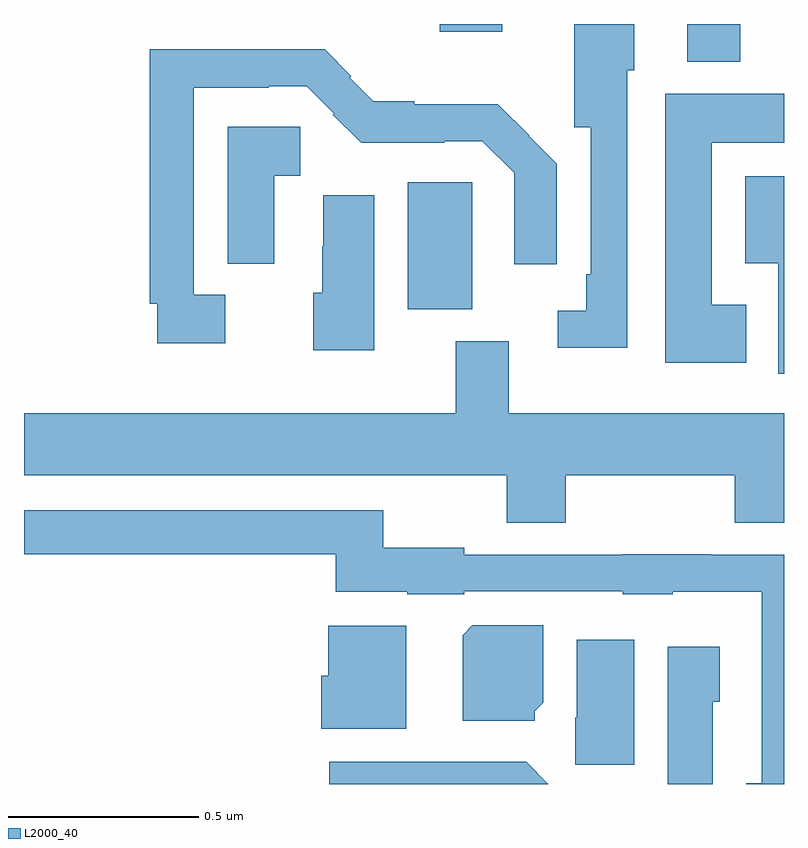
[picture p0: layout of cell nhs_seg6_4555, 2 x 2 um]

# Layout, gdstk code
import gdstk
lib = gdstk.Library(unit=1e-6, precision=1e-09)
def R(c, l, rs):  # rectangles x0, y0, x1, y1
    for r in rs: c.add(gdstk.rectangle(r[:2], r[2:], *l))
def P(c, l, *ps):  # polygons
    for p in ps: c.add(gdstk.Polygon(p, *l))
L2000_40 = (2000, 40)

nhs_seg6_4555 = lib.new_cell('nhs_seg6_4555')
R(nhs_seg6_4555, L2000_40, [(172.01,971.75,172.18,972.084), (172.745,972.401,172.885,972.5), (172.094,972.48,172.258,972.5)])
P(nhs_seg6_4555, L2000_40, [(172.587,972.378),(172.606,972.378),(172.606,972.5),(172.448,972.5),(172.448,972.228),(172.491,972.228),(172.491,971.842),(172.479,971.842),(172.479,971.745),(172.404,971.745),(172.404,971.648),(172.587,971.648)],
  [(171.53,971.788),(171.447,971.788),(171.447,972.332),(171.644,972.332),(171.644,972.336),(171.744,972.336),(171.816,972.264),(171.813,972.261),(171.887,972.188),(172.106,972.188),(172.106,972.192),(172.206,972.192),(172.29,972.108),(172.29,971.868),(172.402,971.868),(172.402,972.132),(172.328,972.206),(172.329,972.207),(172.247,972.289),(172.027,972.289),(172.027,972.297),(171.919,972.297),(171.857,972.359),(171.861,972.363),(171.791,972.433),(171.331,972.433),(171.331,971.764),(171.351,971.764),(171.351,971.66),(171.53,971.66)],
  [(172.9,971.761),(172.81,971.761),(172.81,972.188),(173,972.188),(173,972.316),(172.688,972.316),(172.688,971.609),(172.9,971.609)],
  [(171.658,972.101),(171.727,972.101),(171.727,972.23),(171.536,972.23),(171.536,971.869),(171.658,971.869)],
  [(173,972.1),(172.898,972.1),(172.898,971.87),(172.985,971.87),(172.985,971.58),(173,971.58)],
  [(171.922,972.049),(171.788,972.049),(171.788,971.915),(171.785,971.915),(171.785,971.793),(171.761,971.793),(171.761,971.642),(171.922,971.642)],
  [(172.425,971.312),(172.87,971.312),(172.87,971.188),(173,971.188),(173,971.476),(172.276,971.476),(172.276,971.665),(172.136,971.665),(172.136,971.476),(171,971.476),(171,971.312),(172.27,971.312),(172.27,971.188),(172.425,971.188)],
  [(173,971.103),(172.807,971.103),(172.807,971.105),(172.575,971.105),(172.575,971.103),(172.158,971.103),(172.158,971.122),(171.946,971.122),(171.946,971.22),(171,971.22),(171,971.104),(171.821,971.104),(171.821,971.006),(172.008,971.006),(172.008,971),(172.158,971),(172.158,971.007),(172.575,971.007),(172.575,971),(172.707,971),(172.707,971.006),(172.941,971.006),(172.941,970.502),(172.901,970.502),(172.901,970.5),(173,970.5)],
  [(172.344,970.692),(172.366,970.714),(172.366,970.918),(172.18,970.918),(172.154,970.892),(172.154,970.667),(172.344,970.667)],
  [(172.006,970.916),(171.8,970.916),(171.8,970.785),(171.782,970.785),(171.782,970.646),(172.006,970.646)],
  [(172.606,970.879),(172.454,970.879),(172.454,970.674),(172.45,970.674),(172.45,970.551),(172.606,970.551)],
  [(172.813,970.716),(172.831,970.716),(172.831,970.861),(172.694,970.861),(172.694,970.5),(172.813,970.5)],
  [(172.322,970.558),(171.803,970.558),(171.803,970.5),(172.38,970.5)])

lib.write_gds('nhs_seg6_4555.gds')
